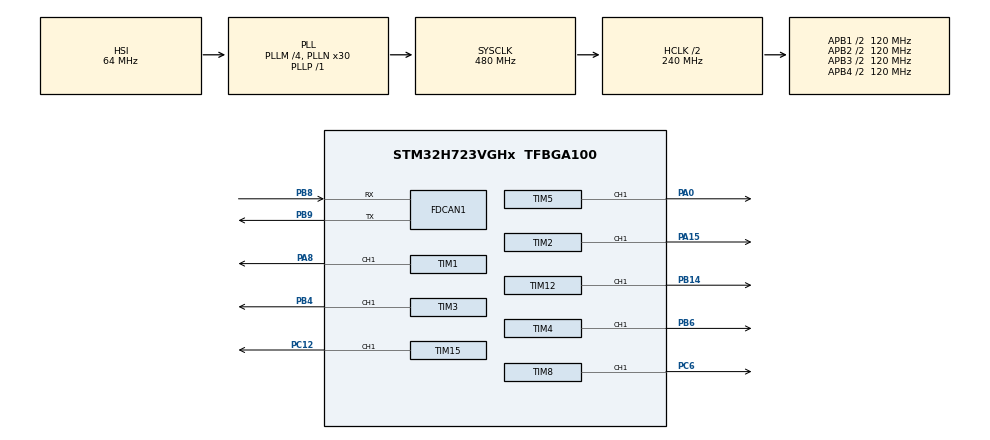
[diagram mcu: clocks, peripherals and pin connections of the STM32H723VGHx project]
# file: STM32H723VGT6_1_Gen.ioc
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CORTEX_M7.default_mode_Activation=1
FDCAN1.AutoRetransmission=ENABLE
FDCAN1.CalculateBaudRateNominal=500000
FDCAN1.CalculateTimeBitNominal=2000
FDCAN1.CalculateTimeQuantumNominal=100.0
FDCAN1.NominalPrescaler=12
FDCAN1.NominalSyncJumpWidth=4
FDCAN1.NominalTimeSeg1=15
FDCAN1.NominalTimeSeg2=4
FDCAN1.RxFifo0ElmtsNbr=32
FDCAN1.StdFiltersNbr=1
FDCAN1.TxEventsNbr=1
FDCAN1.TxFifoQueueElmtsNbr=1
Mcu.Family=STM32H7
Mcu.Name=STM32H723VGHx
Mcu.Package=TFBGA100
NVIC.PriorityGroup=NVIC_PRIORITYGROUP_4
PA0.Signal=S_TIM5_CH1
PA15(JTDI).Signal=S_TIM2_CH1_ETR
PA8.Signal=S_TIM1_CH1
PB14.Signal=S_TIM12_CH1
PB4(NJTRST).Signal=S_TIM3_CH1
PB6.Signal=S_TIM4_CH1
PB8.Mode=FDCAN_Activate
PB8.Signal=FDCAN1_RX
PB9.Mode=FDCAN_Activate
PB9.Signal=FDCAN1_TX
PC12.Signal=S_TIM15_CH1
PC6.Signal=S_TIM8_CH1
PH0-OSC_IN.Mode=HSE-External-Oscillator
PH0-OSC_IN.Signal=RCC_OSC_IN
PH1-OSC_OUT.Mode=HSE-External-Oscillator
PH1-OSC_OUT.Signal=RCC_OSC_OUT
ProjectManager.HeapSize=0x200
ProjectManager.StackSize=0x400
ProjectManager.TargetToolchain=STM32CubeIDE
RCC.ADCFreq_Value=129000000
RCC.APB1Freq_Value=120000000
RCC.APB2Freq_Value=120000000
RCC.APB3Freq_Value=120000000
RCC.APB4Freq_Value=120000000
RCC.CortexFreq_Value=480000000
RCC.D1PPRE=RCC_APB3_DIV2
RCC.D2PPRE1=RCC_APB1_DIV2
RCC.D2PPRE2=RCC_APB2_DIV2
RCC.D3PPRE=RCC_APB4_DIV2
RCC.DIVM1=4
RCC.DIVN1=30
RCC.DIVP1=1
RCC.DIVQ1=4
RCC.HCLKFreq_Value=240000000
RCC.HPRE=RCC_HCLK_DIV2
RCC.PLL2FRACN=0
RCC.PLL3FRACN=0
RCC.PLLFRACN=0
RCC.SYSCLKFreq_VALUE=480000000
RCC.SYSCLKSource=RCC_SYSCLKSOURCE_PLLCLK
RCC.USBFreq_Value=120000000
SH.S_TIM12_CH1.0=TIM12_CH1,PWM Generation1 CH1
SH.S_TIM15_CH1.0=TIM15_CH1,PWM Generation1 CH1
SH.S_TIM1_CH1.0=TIM1_CH1,PWM Generation1 CH1
SH.S_TIM2_CH1_ETR.0=TIM2_CH1,PWM Generation1 CH1
SH.S_TIM3_CH1.0=TIM3_CH1,PWM Generation1 CH1
SH.S_TIM4_CH1.0=TIM4_CH1,PWM Generation1 CH1
SH.S_TIM5_CH1.0=TIM5_CH1,PWM Generation1 CH1
SH.S_TIM8_CH1.0=TIM8_CH1,PWM Generation1 CH1
TIM1.Channel-PWM\ Generation1\ CH1=TIM_CHANNEL_1
TIM12.Channel-PWM\ Generation1\ CH1=TIM_CHANNEL_1
TIM15.Channel-PWM\ Generation1\ CH1=TIM_CHANNEL_1
TIM2.Channel-PWM\ Generation1\ CH1=TIM_CHANNEL_1
TIM3.Channel-PWM\ Generation1\ CH1=TIM_CHANNEL_1
TIM4.Channel-PWM\ Generation1\ CH1=TIM_CHANNEL_1
TIM5.Channel-PWM\ Generation1\ CH1=TIM_CHANNEL_1
TIM8.Channel-PWM\ Generation1\ CH1=TIM_CHANNEL_1
VP_MEMORYMAP_VS_MEMORYMAP.Mode=CurAppReg
VP_TIM12_VS_ClockSourceINT.Mode=Internal
VP_TIM12_VS_ClockSourceITR.Mode=TriggerSource_ITR0
VP_TIM12_VS_ControllerModeTrigger.Mode=Trigger Mode
VP_TIM15_VS_ClockSourceINT.Mode=Internal
VP_TIM15_VS_ClockSourceITR.Mode=TriggerSource_ITR0
VP_TIM15_VS_ControllerModeTrigger.Mode=Trigger Mode
VP_TIM1_VS_ClockSourceINT.Mode=Internal
VP_TIM2_VS_ClockSourceINT.Mode=Internal
VP_TIM2_VS_ClockSourceITR.Mode=TriggerSource_ITR0
VP_TIM2_VS_ControllerModeTrigger.Mode=Trigger Mode
VP_TIM3_VS_ClockSourceINT.Mode=Internal
VP_TIM3_VS_ClockSourceITR.Mode=TriggerSource_ITR0
VP_TIM3_VS_ControllerModeTrigger.Mode=Trigger Mode
VP_TIM4_VS_ClockSourceINT.Mode=Internal
VP_TIM4_VS_ClockSourceITR.Mode=TriggerSource_ITR0
VP_TIM4_VS_ControllerModeTrigger.Mode=Trigger Mode
VP_TIM5_VS_ClockSourceINT.Mode=Internal
VP_TIM5_VS_ClockSourceITR.Mode=TriggerSource_ITR0
VP_TIM5_VS_ControllerModeTrigger.Mode=Trigger Mode
VP_TIM8_VS_ClockSourceINT.Mode=Internal
VP_TIM8_VS_ClockSourceITR.Mode=TriggerSource_ITR0
VP_TIM8_VS_ControllerModeTrigger.Mode=Trigger Mode
board=custom

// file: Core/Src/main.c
/* USER CODE BEGIN Header */
/**
 ******************************************************************************
 * @file           : main.c
 * @brief          : PWM фазировка с аппаратной синхронизацией (TIM1 -> TRGO -> slaves)
 *                   Портировано с STM32H562RGT6 на STM32H723VGT6
 *
 * Ключевые отличия H723 vs H562:
 * - TIMER_CLK_HZ = 120 000 000 (SYSCLK=240MHz, HCLK=120MHz, APB=60MHz, TIM=2x60)
 * - TIM5 тоже 32-битный (Period=0xFFFFFFFF), get_timer_arr_max учитывает TIM2 и TIM5
 * - FDCAN без поля ClockDivider; FDCAN clock = PLL1Q = 120 MHz
 *   500 kbps: Prescaler=15, TimeSeg1=12, TimeSeg2=3, SJW=4 (1+12+3=16 TQ)
 * - BreakAFMode убрано (нет в H7 HAL)
 * - ICACHE через SCB_EnableICache()
 * - FDCAN GPIO: PB8(RX), PB9(TX) согласно ioc-файлу
 ******************************************************************************
 */
/* USER CODE END Header */
#include "main.h"

/* USER CODE BEGIN Includes */
#include <stdbool.h>
#include <stdint.h>
#include <math.h>
#include "fdcan_comm.h"
#include "pwm_modes.h"
/* USER CODE END Includes */

/* USER CODE BEGIN PD */

/**
 * @brief Частота тактирования таймеров STM32H723
 * @details SYSCLK=240MHz, AHB_DIV=2->HCLK=120MHz, APB_DIV=2->PCLK=60MHz,
 *          TIM_CLK = 2xPCLK = 120 MHz (TIMPRE=0, APB prescaler > 1)
 */
#ifndef TIMER_CLK_HZ
#define TIMER_CLK_HZ 120000000U
#endif

#define PWM_FREQ_MIN            17000U
#define PWM_FREQ_MAX            2000000U
#define PWM_BASE_STEP_HZ        1U
#define PWM_DEFAULT_DUTY        0.5f
#define PWM_STEP_MULTIPLIER     0.5f
#define PWM_MODE1_INTERVAL_MS   100U
#define PWM_MODE3_INTERVAL_MS   10U
#define PWM_MODE4_TICKS         10U

/** 0=LINEAR, 1=LOGARITHMIC, 2=STEP_LADDER, 3=JITTER */
#define PWM_STARTUP_MODE        0U

#define N_CH 8

#define MODE_SWITCH_INTERVAL_MS 30000U
/* USER CODE END PD */

FDCAN_HandleTypeDef hfdcan1;

TIM_HandleTypeDef htim1;
TIM_HandleTypeDef htim2;
TIM_HandleTypeDef htim3;
TIM_HandleTypeDef htim4;
TIM_HandleTypeDef htim5;
TIM_HandleTypeDef htim8;
TIM_HandleTypeDef htim12;
TIM_HandleTypeDef htim15;

/* USER CODE BEGIN PV */

/** @brief Массив указателей на таймеры (TIM1=master, остальные=slaves) */
TIM_HandleTypeDef *const timers[N_CH] = { &htim1, &htim2, &htim3, &htim4,
        &htim5, &htim8, &htim12, &htim15 };

/** @brief Каналы PWM (все TIM_CHANNEL_1) */
const uint32_t channels[N_CH] = {
    TIM_CHANNEL_1, TIM_CHANNEL_1, TIM_CHANNEL_1, TIM_CHANNEL_1,
    TIM_CHANNEL_1, TIM_CHANNEL_1, TIM_CHANNEL_1, TIM_CHANNEL_1
};

/** @brief Глобальная конфигурация PWM */
pwm_config_t global_pwm_cfg = {
    .freq_min          = PWM_FREQ_MIN,
    .freq_max          = PWM_FREQ_MAX,
    .step_hz           = PWM_BASE_STEP_HZ,
    .interval_ms       = PWM_MODE1_INTERVAL_MS,
    .duty              = PWM_DEFAULT_DUTY,
    .step_multiplier   = PWM_STEP_MULTIPLIER,
    .mode3_interval_ms = PWM_MODE3_INTERVAL_MS,
    .mode4_ticks       = PWM_MODE4_TICKS
};

typedef struct {
    pwm_mode_id_t current_mode;
    uint32_t last_mode_switch_tick;
    float current_freq_f;
    uint32_t current_freq;
    bool increasing;
    uint32_t last_step_tick;
    uint32_t mode4_tick_counter;
    uint32_t cycle_counter;
    uint32_t cycles_per_mode;
} pwm_manager_t;

static pwm_manager_t pwm_mgr;

typedef enum {
    PWM_STATE_NORMAL,
    PWM_STATE_PAUSED
} pwm_state_t;

/** НЕ static — нужен extern для fdcan_comm.c */
volatile pwm_state_t pwm_state = PWM_STATE_NORMAL;

/* USER CODE END PV */

void SystemClock_Config(void);
static void MPU_Config(void);
static void MX_GPIO_Init(void);
static void MX_TIM1_Init(void);
static void MX_TIM2_Init(void);
static void MX_TIM3_Init(void);
static void MX_TIM4_Init(void);
static void MX_TIM5_Init(void);
static void MX_TIM12_Init(void);
static void MX_TIM15_Init(void);
static void MX_TIM8_Init(void);
static void MX_FDCAN1_Init(void);

/* USER CODE BEGIN 0 */

/**
 * @brief Максимальное значение ARR: TIM2 и TIM5 — 32-бит, остальные — 16-бит
 */
static uint32_t get_timer_arr_max(TIM_HandleTypeDef *htim) {
    if (htim->Instance == TIM2 || htim->Instance == TIM5) {
        return 0xFFFFFFFFU;
    }
    return 0xFFFFU;
}

/**
 * @brief Целочисленное вычисление PSC и ARR для нужной частоты
 */
static void compute_psc_arr_fast(uint32_t freq_hz, uint32_t arr_max, uint32_t *psc, uint32_t *arr) {
    if (freq_hz == 0) { *psc = 0; *arr = arr_max; return; }
    uint64_t timer_clk = (uint64_t)TIMER_CLK_HZ;
    uint64_t period_ticks = timer_clk / freq_hz;
    if (period_ticks <= ((uint64_t)arr_max + 1)) {
        *psc = 0;
        *arr = (uint32_t)(period_ticks - 1);
    } else {
        uint64_t p_calc = (period_ticks + (uint64_t)arr_max) / ((uint64_t)arr_max + 1);
        if (p_calc == 0) p_calc = 1;
        *psc = (uint32_t)(p_calc - 1);
        *arr = (uint32_t)(period_ticks / p_calc) - 1;
    }
}

/* Состояния верификации */
typedef enum {
    VERIFY_STATE_IDLE,
    VERIFY_STATE_STABILIZING,
    VERIFY_STATE_SWEEPING,
    VERIFY_STATE_FINISHING
} v_state_t;

static struct {
    v_state_t state;
    uint32_t base_freq;
    uint32_t current_freq_v;
    float fine_freq_v;
    float current_step;
    int step_idx;
    int mode_idx;
    int sweep_dir;
    uint32_t last_step_tick_v;
} v_sm;

static const float v_steps[] = { 1.0f, 0.9f, 0.8f, 0.7f, 0.6f, 0.5f };
static void verify_process(void);

/* Программирование параметров без UG */
static void set_timer_params_no_ug(TIM_HandleTypeDef *htim, uint32_t channel,
        uint32_t freq_hz, float duty, uint32_t *out_psc, uint32_t *out_arr) {
    uint32_t arr_max = get_timer_arr_max(htim);
    uint32_t psc = 0, arr = 0;
    compute_psc_arr_fast(freq_hz, arr_max, &psc, &arr);
    if (arr == 0) arr = 1;
    HAL_TIM_PWM_Stop(htim, channel);
    if (htim->Instance == TIM2) {
        uint32_t smcr_backup = htim->Instance->SMCR;
        htim->Instance->SMCR = 0;
        __HAL_TIM_SET_PRESCALER(htim, psc);
        __HAL_TIM_SET_AUTORELOAD(htim, arr);
        htim->Instance->SMCR = smcr_backup;
        htim->Instance->EGR = TIM_EGR_UG;
    } else {
        __HAL_TIM_SET_PRESCALER(htim, psc);
        __HAL_TIM_SET_AUTORELOAD(htim, arr);
    }
    uint32_t ccr = (uint32_t)(((uint64_t)(arr + 1) * (uint32_t)(duty * 1000 + 0.5f)) / 1000);
    if (ccr > arr) ccr = arr;
    __HAL_TIM_SET_COMPARE(htim, channel, ccr);
    if (out_psc) *out_psc = psc;
    if (out_arr) *out_arr = arr;
}

/* Синхронный старт всех таймеров */
static void preload_and_start_all_hw_sync(float duty) {
    for (uint32_t i = 0; i < N_CH; ++i) {
        uint32_t arr = timers[i]->Instance->ARR;
        uint32_t phase_ticks = (uint32_t)roundf(((float)i * (float)(arr + 1) / (float)N_CH));
        uint32_t preload_cnt = ((arr + 1) + ((arr + 1) - phase_ticks)) % (arr + 1);
        __HAL_TIM_SET_COUNTER(timers[i], preload_cnt);
        if (i > 0) { __HAL_TIM_CLEAR_FLAG(timers[i], TIM_FLAG_UPDATE); }
    }
    for (uint32_t i = 1; i < N_CH; ++i) { HAL_TIM_PWM_Start(timers[i], channels[i]); }
    HAL_TIM_PWM_Start(timers[0], channels[0]);
    timers[0]->Instance->EGR = TIM_EGR_UG;
}

static uint32_t prev_psc_cache[N_CH];
static uint32_t prev_arr_cache[N_CH];

void pwm_manager_init(void) {
    pwm_mgr.current_mode = (pwm_mode_id_t)PWM_STARTUP_MODE;
    pwm_mgr.current_freq_f = (float)global_pwm_cfg.freq_min;
    pwm_mgr.current_freq = global_pwm_cfg.freq_min;
    pwm_mgr.increasing = true;
    pwm_mgr.last_mode_switch_tick = HAL_GetTick();
    pwm_mgr.last_step_tick = HAL_GetTick();
    pwm_mgr.cycle_counter = 0;
    pwm_mgr.cycles_per_mode = 1;
    for (uint32_t i = 0; i < N_CH; ++i) {
        set_timer_params_no_ug(timers[i], channels[i], pwm_mgr.current_freq,
                global_pwm_cfg.duty, &prev_psc_cache[i], &prev_arr_cache[i]);
    }
    preload_and_start_all_hw_sync(global_pwm_cfg.duty);
    FDCAN_SendModeStatus((uint8_t)pwm_mgr.current_mode);
}

void pwm_manager_process(void) {
    uint32_t now = HAL_GetTick();
    verify_process();
    if (v_sm.state != VERIFY_STATE_IDLE) return;
    if (pwm_state == PWM_STATE_PAUSED) return;

    uint32_t current_interval = global_pwm_cfg.interval_ms;
    bool is_tick_based = false;
    if (pwm_mgr.current_mode == PWM_MODE_STEP_LADDER) {
        current_interval = global_pwm_cfg.mode3_interval_ms;
    } else if (pwm_mgr.current_mode == PWM_MODE_JITTER) {
        is_tick_based = true;
    }

    bool trigger_update = false;
    if (is_tick_based) {
        pwm_mgr.mode4_tick_counter++;
        if (pwm_mgr.mode4_tick_counter >= global_pwm_cfg.mode4_ticks) {
            pwm_mgr.mode4_tick_counter = 0;
            trigger_update = true;
        }
    } else {
        if (now - pwm_mgr.last_step_tick >= current_interval) {
            pwm_mgr.last_step_tick = now;
            trigger_update = true;
        }
    }

    if (trigger_update) {
        bool prev_increasing = pwm_mgr.increasing;
        float next_freq_f = pwm_handlers[pwm_mgr.current_mode].update(pwm_mgr.current_freq_f, &pwm_mgr.increasing);

        if (!prev_increasing && pwm_mgr.increasing) {
            pwm_mgr.cycle_counter++;
            if (pwm_mgr.cycle_counter >= pwm_mgr.cycles_per_mode) {
                pwm_mgr.cycle_counter = 0;
                pwm_mgr.current_mode = (pwm_mode_id_t)((pwm_mgr.current_mode + 1) % PWM_MODE_COUNT);
                if (pwm_handlers[pwm_mgr.current_mode].init) pwm_handlers[pwm_mgr.current_mode].init();
                FDCAN_SendModeStatus((uint8_t)pwm_mgr.current_mode);
            }
        }

        pwm_mgr.current_freq_f = next_freq_f;
        pwm_mgr.current_freq = (uint32_t)next_freq_f;

        bool need_restart = false;
        uint32_t tmp_psc[N_CH], tmp_arr[N_CH];
        for (uint32_t i = 0; i < N_CH; i++) {
            compute_psc_arr_fast(pwm_mgr.current_freq, get_timer_arr_max(timers[i]), &tmp_psc[i], &tmp_arr[i]);
            if (tmp_psc[i] != prev_psc_cache[i] || tmp_arr[i] != prev_arr_cache[i]) need_restart = true;
        }

        if (need_restart) {
            for (uint32_t i = 0; i < N_CH; i++) {
                uint32_t psc = tmp_psc[i];
                uint32_t arr = tmp_arr[i];
                if (arr == 0U) arr = 1U;
                HAL_TIM_PWM_Stop(timers[i], channels[i]);
                if (timers[i]->Instance == TIM2) {
                    uint32_t smcr_bk = timers[i]->Instance->SMCR;
                    timers[i]->Instance->SMCR = 0;
                    __HAL_TIM_SET_PRESCALER(timers[i], psc);
                    __HAL_TIM_SET_AUTORELOAD(timers[i], arr);
                    timers[i]->Instance->SMCR = smcr_bk;
                    timers[i]->Instance->EGR  = TIM_EGR_UG;
                } else {
                    __HAL_TIM_SET_PRESCALER(timers[i], psc);
                    __HAL_TIM_SET_AUTORELOAD(timers[i], arr);
                }
                uint32_t ccr = (uint32_t)(((uint64_t)(arr + 1U) *
                                (uint32_t)(global_pwm_cfg.duty * 1000.0f + 0.5f)) / 1000U);
                if (ccr > arr) ccr = arr;
                __HAL_TIM_SET_COMPARE(timers[i], channels[i], ccr);
                prev_psc_cache[i] = psc;
                prev_arr_cache[i] = arr;
            }
            preload_and_start_all_hw_sync(global_pwm_cfg.duty);
        } else {
            for (uint32_t i = 0; i < N_CH; i++) {
                uint32_t arr = prev_arr_cache[i];
                uint32_t ccr = (uint32_t)(((uint64_t)(arr + 1) * (uint32_t)(global_pwm_cfg.duty * 1000 + 0.5f)) / 1000);
                __HAL_TIM_SET_COMPARE(timers[i], channels[i], (ccr > arr ? arr : ccr));
            }
        }
        FDCAN_SendFrequency(pwm_mgr.current_freq);
    }

    /* Периодически повторяем статус режима (каждые 2 сек) */
    {
        static uint32_t s_last_mode_bcast = 0U;
        if ((now - s_last_mode_bcast) >= 2000U) {
            s_last_mode_bcast = now;
            FDCAN_SendModeStatus((uint8_t)pwm_mgr.current_mode);
        }
    }
}

static void verify_process(void) {
    uint32_t now = HAL_GetTick();
    switch (v_sm.state) {
    case VERIFY_STATE_IDLE: {
        uint32_t req = FDCAN_GetVerifyRequest();
        if (req != 0) {
            v_sm.base_freq = req;
            v_sm.mode_idx = 0; v_sm.step_idx = 0;
            v_sm.current_step = v_steps[0];
            v_sm.fine_freq_v = (float)v_sm.base_freq - 100.0f;
            v_sm.sweep_dir = 1;
            v_sm.state = VERIFY_STATE_STABILIZING;
            FDCAN_SendVerifyStatus(VERIFY_START);
            if (pwm_handlers[v_sm.mode_idx].init) pwm_handlers[v_sm.mode_idx].init();
            FDCAN_SendModeStatus((uint8_t)v_sm.mode_idx);
        }
        break;
    }
    case VERIFY_STATE_STABILIZING:
        FDCAN_SendVerifyStatus(VERIFY_BUSY);
        v_sm.state = VERIFY_STATE_SWEEPING;
        v_sm.last_step_tick_v = now;
        break;
    case VERIFY_STATE_SWEEPING:
        if (now - v_sm.last_step_tick_v >= 50) {
            v_sm.last_step_tick_v = now;
            v_sm.fine_freq_v += (v_sm.current_step * (float)v_sm.sweep_dir);
            uint32_t target_hz = (uint32_t)v_sm.fine_freq_v;
            for (uint32_t i = 0; i < N_CH; ++i) {
                uint32_t psc, arr;
                compute_psc_arr_fast(target_hz, get_timer_arr_max(timers[i]), &psc, &arr);
                if (psc != prev_psc_cache[i] || arr != prev_arr_cache[i]) {
                    set_timer_params_no_ug(timers[i], channels[i], target_hz, global_pwm_cfg.duty, &prev_psc_cache[i], &prev_arr_cache[i]);
                    preload_and_start_all_hw_sync(global_pwm_cfg.duty);
                } else {
                    uint32_t arr_v = prev_arr_cache[i];
                    uint32_t ccr = (uint32_t)(((uint64_t)(arr_v + 1) * (uint32_t)(global_pwm_cfg.duty * 1000 + 0.5f)) / 1000);
                    __HAL_TIM_SET_COMPARE(timers[i], channels[i], (ccr > arr_v ? arr_v : ccr));
                }
            }
            FDCAN_SendFrequency(target_hz);
            if (v_sm.sweep_dir == 1 && v_sm.fine_freq_v >= (float)v_sm.base_freq + 100.0f) {
                v_sm.sweep_dir = -1;
            } else if (v_sm.sweep_dir == -1 && v_sm.fine_freq_v <= (float)v_sm.base_freq - 100.0f) {
                v_sm.sweep_dir = 1;
                v_sm.step_idx++;
                if (v_sm.step_idx >= 6) {
                    v_sm.step_idx = 0; v_sm.mode_idx++;
                    if (v_sm.mode_idx >= 4) {
                        v_sm.state = VERIFY_STATE_FINISHING;
                    } else {
                        if (pwm_handlers[v_sm.mode_idx].init) pwm_handlers[v_sm.mode_idx].init();
                        FDCAN_SendModeStatus((uint8_t)v_sm.mode_idx);
                    }
                }
                v_sm.current_step = v_steps[v_sm.step_idx];
            }
        }
        break;
    case VERIFY_STATE_FINISHING:
        FDCAN_SendVerifyStatus(VERIFY_DONE);
        v_sm.state = VERIFY_STATE_IDLE;
        pwm_manager_init();
        break;
    }
}

/* USER CODE END 0 */

int main(void)
{

  /* MPU Configuration--------------------------------------------------------*/
  MPU_Config();

  /* MCU Configuration--------------------------------------------------------*/

  /* Reset of all peripherals, Initializes the Flash interface and the Systick. */
  HAL_Init();

  /* Configure the system clock */
  SystemClock_Config();

  /* USER CODE BEGIN SysInit */
  /* Включаем Instruction Cache (L1) для STM32H7 */
  SCB_EnableICache();
  /* USER CODE END SysInit */

  /* Initialize all configured peripherals */
  MX_GPIO_Init();
  MX_TIM1_Init();
  MX_TIM2_Init();
  MX_TIM3_Init();
  MX_TIM4_Init();
  MX_TIM5_Init();
  MX_TIM12_Init();
  MX_TIM15_Init();
  MX_TIM8_Init();
  MX_FDCAN1_Init();
  /* USER CODE BEGIN 2 */

  /* Initialize FDCAN communication */
  FDCAN_Comm_Init();

  /* Инициализация Independent Watchdog */
  IWDG1->KR  = 0x5555;       /* Unlock IWDG1 */
  IWDG1->PR  = IWDG_PR_PR_2;  /* Prescaler = 64 */
  IWDG1->RLR = 0xFFF;         /* Reload = 4095 (~8 sec) */
  IWDG1->KR  = 0xCCCC;       /* Start IWDG1 */

  /* Инициализация менеджера режимов PWM */
  pwm_manager_init();

  /* USER CODE END 2 */

  /* Infinite loop */
  while (1)
  {

    /* USER CODE BEGIN 3 */
    /* Refresh Independent Watchdog */
    IWDG1->KR = 0xAAAA;

    /* Обработка команд из CAN ISR (PAUSE/RESUME/REBOOT) */
    FDCAN_ProcessPendingCommands();

    /* Мониторинг CAN ошибок (каждые 5 сек) */
    {
        static uint32_t last_can_diag_check = 0;
        uint32_t now_ms = HAL_GetTick();
        if ((now_ms - last_can_diag_check) >= 5000U) {
            last_can_diag_check = now_ms;
            fdcan_diag_t can_diag = FDCAN_GetDiagnostics();
            (void)can_diag;
        }
    }

    pwm_manager_process();
    __NOP();
  }
  /* USER CODE END 3 */
}

void SystemClock_Config(void)
{
  RCC_OscInitTypeDef RCC_OscInitStruct = {0};
  RCC_ClkInitTypeDef RCC_ClkInitStruct = {0};

  /** Supply configuration update enable
  */
  HAL_PWREx_ConfigSupply(PWR_LDO_SUPPLY);

  /** Configure the main internal regulator output voltage
  */
  __HAL_PWR_VOLTAGESCALING_CONFIG(PWR_REGULATOR_VOLTAGE_SCALE0);

  while(!__HAL_PWR_GET_FLAG(PWR_FLAG_VOSRDY)) {}

  /** Initializes the RCC Oscillators according to the specified parameters
  * in the RCC_OscInitTypeDef structure.
  */
  RCC_OscInitStruct.OscillatorType = RCC_OSCILLATORTYPE_HSI;
  RCC_OscInitStruct.HSIState = RCC_HSI_DIV1;
  RCC_OscInitStruct.HSICalibrationValue = 64;
  RCC_OscInitStruct.PLL.PLLState = RCC_PLL_ON;
  RCC_OscInitStruct.PLL.PLLSource = RCC_PLLSOURCE_HSI;
  RCC_OscInitStruct.PLL.PLLM = 4;
  RCC_OscInitStruct.PLL.PLLN = 30;
  RCC_OscInitStruct.PLL.PLLP = 1;
  RCC_OscInitStruct.PLL.PLLQ = 4;
  RCC_OscInitStruct.PLL.PLLR = 2;
  RCC_OscInitStruct.PLL.PLLRGE = RCC_PLL1VCIRANGE_3;
  RCC_OscInitStruct.PLL.PLLVCOSEL = RCC_PLL1VCOWIDE;
  RCC_OscInitStruct.PLL.PLLFRACN = 0;
  if (HAL_RCC_OscConfig(&RCC_OscInitStruct) != HAL_OK)
  {
    Error_Handler();
  }

  /** Initializes the CPU, AHB and APB buses clocks
  */
  RCC_ClkInitStruct.ClockType = RCC_CLOCKTYPE_HCLK|RCC_CLOCKTYPE_SYSCLK
                              |RCC_CLOCKTYPE_PCLK1|RCC_CLOCKTYPE_PCLK2
                              |RCC_CLOCKTYPE_D3PCLK1|RCC_CLOCKTYPE_D1PCLK1;
  RCC_ClkInitStruct.SYSCLKSource = RCC_SYSCLKSOURCE_PLLCLK;
  RCC_ClkInitStruct.SYSCLKDivider = RCC_SYSCLK_DIV1;
  RCC_ClkInitStruct.AHBCLKDivider = RCC_HCLK_DIV2;
  RCC_ClkInitStruct.APB3CLKDivider = RCC_APB3_DIV2;
  RCC_ClkInitStruct.APB1CLKDivider = RCC_APB1_DIV2;
  RCC_ClkInitStruct.APB2CLKDivider = RCC_APB2_DIV2;
  RCC_ClkInitStruct.APB4CLKDivider = RCC_APB4_DIV2;

  if (HAL_RCC_ClockConfig(&RCC_ClkInitStruct, FLASH_LATENCY_3) != HAL_OK)
  {
    Error_Handler();
  }
}

static void MX_FDCAN1_Init(void)
{

  hfdcan1.Instance = FDCAN1;
  hfdcan1.Init.FrameFormat = FDCAN_FRAME_CLASSIC;
  hfdcan1.Init.Mode = FDCAN_MODE_NORMAL;
  hfdcan1.Init.AutoRetransmission = ENABLE;
  hfdcan1.Init.TransmitPause = DISABLE;
  hfdcan1.Init.ProtocolException = DISABLE;
  hfdcan1.Init.NominalPrescaler = 12;
  hfdcan1.Init.NominalSyncJumpWidth = 4;
  hfdcan1.Init.NominalTimeSeg1 = 15;
  hfdcan1.Init.NominalTimeSeg2 = 4;
  hfdcan1.Init.DataPrescaler = 1;
  hfdcan1.Init.DataSyncJumpWidth = 1;
  hfdcan1.Init.DataTimeSeg1 = 1;
  hfdcan1.Init.DataTimeSeg2 = 1;
  hfdcan1.Init.MessageRAMOffset = 0;
  hfdcan1.Init.StdFiltersNbr = 1;
  hfdcan1.Init.ExtFiltersNbr = 0;
  hfdcan1.Init.RxFifo0ElmtsNbr = 32;
  hfdcan1.Init.RxFifo0ElmtSize = FDCAN_DATA_BYTES_8;
  hfdcan1.Init.RxFifo1ElmtsNbr = 0;
  hfdcan1.Init.RxFifo1ElmtSize = FDCAN_DATA_BYTES_8;
  hfdcan1.Init.RxBuffersNbr = 0;
  hfdcan1.Init.RxBufferSize = FDCAN_DATA_BYTES_8;
  hfdcan1.Init.TxEventsNbr = 1;
  hfdcan1.Init.TxBuffersNbr = 0;
  hfdcan1.Init.TxFifoQueueElmtsNbr = 1;
  hfdcan1.Init.TxFifoQueueMode = FDCAN_TX_FIFO_OPERATION;
  hfdcan1.Init.TxElmtSize = FDCAN_DATA_BYTES_8;
  if (HAL_FDCAN_Init(&hfdcan1) != HAL_OK)
  {
    Error_Handler();
  }

}

static void MX_TIM1_Init(void)
{

  TIM_ClockConfigTypeDef sClockSourceConfig = {0};
  TIM_MasterConfigTypeDef sMasterConfig = {0};
  TIM_OC_InitTypeDef sConfigOC = {0};
  TIM_BreakDeadTimeConfigTypeDef sBreakDeadTimeConfig = {0};

  htim1.Instance = TIM1;
  htim1.Init.Prescaler = 0;
  htim1.Init.CounterMode = TIM_COUNTERMODE_UP;
  htim1.Init.Period = 65535;
  htim1.Init.ClockDivision = TIM_CLOCKDIVISION_DIV1;
  htim1.Init.RepetitionCounter = 0;
  htim1.Init.AutoReloadPreload = TIM_AUTORELOAD_PRELOAD_DISABLE;
  if (HAL_TIM_Base_Init(&htim1) != HAL_OK)
  {
    Error_Handler();
  }
  sClockSourceConfig.ClockSource = TIM_CLOCKSOURCE_INTERNAL;
  if (HAL_TIM_ConfigClockSource(&htim1, &sClockSourceConfig) != HAL_OK)
  {
    Error_Handler();
  }
  if (HAL_TIM_PWM_Init(&htim1) != HAL_OK)
  {
    Error_Handler();
  }
  sMasterConfig.MasterOutputTrigger = TIM_TRGO_RESET;
  sMasterConfig.MasterOutputTrigger2 = TIM_TRGO2_RESET;
  sMasterConfig.MasterSlaveMode = TIM_MASTERSLAVEMODE_DISABLE;
  if (HAL_TIMEx_MasterConfigSynchronization(&htim1, &sMasterConfig) != HAL_OK)
  {
    Error_Handler();
  }
  sConfigOC.OCMode = TIM_OCMODE_PWM1;
  sConfigOC.Pulse = 0;
  sConfigOC.OCPolarity = TIM_OCPOLARITY_HIGH;
  sConfigOC.OCNPolarity = TIM_OCNPOLARITY_HIGH;
  sConfigOC.OCFastMode = TIM_OCFAST_DISABLE;
  sConfigOC.OCIdleState = TIM_OCIDLESTATE_RESET;
  sConfigOC.OCNIdleState = TIM_OCNIDLESTATE_RESET;
  if (HAL_TIM_PWM_ConfigChannel(&htim1, &sConfigOC, TIM_CHANNEL_1) != HAL_OK)
  {
    Error_Handler();
  }
  sBreakDeadTimeConfig.OffStateRunMode = TIM_OSSR_DISABLE;
  sBreakDeadTimeConfig.OffStateIDLEMode = TIM_OSSI_DISABLE;
  sBreakDeadTimeConfig.LockLevel = TIM_LOCKLEVEL_OFF;
  sBreakDeadTimeConfig.DeadTime = 0;
  sBreakDeadTimeConfig.BreakState = TIM_BREAK_DISABLE;
  sBreakDeadTimeConfig.BreakPolarity = TIM_BREAKPOLARITY_HIGH;
  sBreakDeadTimeConfig.BreakFilter = 0;
  sBreakDeadTimeConfig.Break2State = TIM_BREAK2_DISABLE;
  sBreakDeadTimeConfig.Break2Polarity = TIM_BREAK2POLARITY_HIGH;
  sBreakDeadTimeConfig.Break2Filter = 0;
  sBreakDeadTimeConfig.AutomaticOutput = TIM_AUTOMATICOUTPUT_DISABLE;
  if (HAL_TIMEx_ConfigBreakDeadTime(&htim1, &sBreakDeadTimeConfig) != HAL_OK)
  {
    Error_Handler();
  }
  HAL_TIM_MspPostInit(&htim1);

}

static void MX_TIM2_Init(void)
{

  TIM_ClockConfigTypeDef sClockSourceConfig = {0};
  TIM_SlaveConfigTypeDef sSlaveConfig = {0};
  TIM_MasterConfigTypeDef sMasterConfig = {0};
  TIM_OC_InitTypeDef sConfigOC = {0};

  htim2.Instance = TIM2;
  htim2.Init.Prescaler = 0;
  htim2.Init.CounterMode = TIM_COUNTERMODE_UP;
  htim2.Init.Period = 4294967295;
  htim2.Init.ClockDivision = TIM_CLOCKDIVISION_DIV1;
  htim2.Init.AutoReloadPreload = TIM_AUTORELOAD_PRELOAD_DISABLE;
  if (HAL_TIM_Base_Init(&htim2) != HAL_OK)
  {
    Error_Handler();
  }
  sClockSourceConfig.ClockSource = TIM_CLOCKSOURCE_INTERNAL;
  if (HAL_TIM_ConfigClockSource(&htim2, &sClockSourceConfig) != HAL_OK)
  {
    Error_Handler();
  }
  if (HAL_TIM_PWM_Init(&htim2) != HAL_OK)
  {
    Error_Handler();
  }
  sSlaveConfig.SlaveMode = TIM_SLAVEMODE_TRIGGER;
  sSlaveConfig.InputTrigger = TIM_TS_ITR0;
  if (HAL_TIM_SlaveConfigSynchro(&htim2, &sSlaveConfig) != HAL_OK)
  {
    Error_Handler();
  }
  sMasterConfig.MasterOutputTrigger = TIM_TRGO_RESET;
  sMasterConfig.MasterSlaveMode = TIM_MASTERSLAVEMODE_DISABLE;
  if (HAL_TIMEx_MasterConfigSynchronization(&htim2, &sMasterConfig) != HAL_OK)
  {
    Error_Handler();
  }
  sConfigOC.OCMode = TIM_OCMODE_PWM1;
  sConfigOC.Pulse = 0;
  sConfigOC.OCPolarity = TIM_OCPOLARITY_HIGH;
  sConfigOC.OCFastMode = TIM_OCFAST_DISABLE;
  if (HAL_TIM_PWM_ConfigChannel(&htim2, &sConfigOC, TIM_CHANNEL_1) != HAL_OK)
  {
    Error_Handler();
  }
  HAL_TIM_MspPostInit(&htim2);

}

static void MX_TIM3_Init(void)
{

  TIM_ClockConfigTypeDef sClockSourceConfig = {0};
  TIM_SlaveConfigTypeDef sSlaveConfig = {0};
  TIM_MasterConfigTypeDef sMasterConfig = {0};
  TIM_OC_InitTypeDef sConfigOC = {0};

  htim3.Instance = TIM3;
  htim3.Init.Prescaler = 0;
  htim3.Init.CounterMode = TIM_COUNTERMODE_UP;
  htim3.Init.Period = 65535;
  htim3.Init.ClockDivision = TIM_CLOCKDIVISION_DIV1;
  htim3.Init.AutoReloadPreload = TIM_AUTORELOAD_PRELOAD_DISABLE;
  if (HAL_TIM_Base_Init(&htim3) != HAL_OK)
  {
    Error_Handler();
  }
  sClockSourceConfig.ClockSource = TIM_CLOCKSOURCE_INTERNAL;
  if (HAL_TIM_ConfigClockSource(&htim3, &sClockSourceConfig) != HAL_OK)
  {
    Error_Handler();
  }
  if (HAL_TIM_PWM_Init(&htim3) != HAL_OK)
  {
    Error_Handler();
  }
  sSlaveConfig.SlaveMode = TIM_SLAVEMODE_TRIGGER;
  sSlaveConfig.InputTrigger = TIM_TS_ITR0;
  if (HAL_TIM_SlaveConfigSynchro(&htim3, &sSlaveConfig) != HAL_OK)
  {
    Error_Handler();
  }
  sMasterConfig.MasterOutputTrigger = TIM_TRGO_RESET;
  sMasterConfig.MasterSlaveMode = TIM_MASTERSLAVEMODE_DISABLE;
  if (HAL_TIMEx_MasterConfigSynchronization(&htim3, &sMasterConfig) != HAL_OK)
  {
    Error_Handler();
  }
  sConfigOC.OCMode = TIM_OCMODE_PWM1;
  sConfigOC.Pulse = 0;
  sConfigOC.OCPolarity = TIM_OCPOLARITY_HIGH;
  sConfigOC.OCFastMode = TIM_OCFAST_DISABLE;
  if (HAL_TIM_PWM_ConfigChannel(&htim3, &sConfigOC, TIM_CHANNEL_1) != HAL_OK)
  {
    Error_Handler();
  }
  HAL_TIM_MspPostInit(&htim3);

}

static void MX_TIM4_Init(void)
{

  TIM_ClockConfigTypeDef sClockSourceConfig = {0};
  TIM_SlaveConfigTypeDef sSlaveConfig = {0};
  TIM_MasterConfigTypeDef sMasterConfig = {0};
  TIM_OC_InitTypeDef sConfigOC = {0};

  htim4.Instance = TIM4;
  htim4.Init.Prescaler = 0;
  htim4.Init.CounterMode = TIM_COUNTERMODE_UP;
  htim4.Init.Period = 65535;
  htim4.Init.ClockDivision = TIM_CLOCKDIVISION_DIV1;
  htim4.Init.AutoReloadPreload = TIM_AUTORELOAD_PRELOAD_DISABLE;
  if (HAL_TIM_Base_Init(&htim4) != HAL_OK)
  {
    Error_Handler();
  }
  sClockSourceConfig.ClockSource = TIM_CLOCKSOURCE_INTERNAL;
  if (HAL_TIM_ConfigClockSource(&htim4, &sClockSourceConfig) != HAL_OK)
  {
    Error_Handler();
  }
  if (HAL_TIM_PWM_Init(&htim4) != HAL_OK)
  {
    Error_Handler();
  }
  sSlaveConfig.SlaveMode = TIM_SLAVEMODE_TRIGGER;
  sSlaveConfig.InputTrigger = TIM_TS_ITR0;
  if (HAL_TIM_SlaveConfigSynchro(&htim4, &sSlaveConfig) != HAL_OK)
  {
    Error_Handler();
  }
  sMasterConfig.MasterOutputTrigger = TIM_TRGO_RESET;
  sMasterConfig.MasterSlaveMode = TIM_MASTERSLAVEMODE_DISABLE;
  if (HAL_TIMEx_MasterConfigSynchronization(&htim4, &sMasterConfig) != HAL_OK)
  {
    Error_Handler();
  }
  sConfigOC.OCMode = TIM_OCMODE_PWM1;
  sConfigOC.Pulse = 0;
  sConfigOC.OCPolarity = TIM_OCPOLARITY_HIGH;
  sConfigOC.OCFastMode = TIM_OCFAST_DISABLE;
  if (HAL_TIM_PWM_ConfigChannel(&htim4, &sConfigOC, TIM_CHANNEL_1) != HAL_OK)
  {
    Error_Handler();
  }
  HAL_TIM_MspPostInit(&htim4);

}

static void MX_TIM5_Init(void)
{

  TIM_ClockConfigTypeDef sClockSourceConfig = {0};
  TIM_SlaveConfigTypeDef sSlaveConfig = {0};
  TIM_MasterConfigTypeDef sMasterConfig = {0};
  TIM_OC_InitTypeDef sConfigOC = {0};

  htim5.Instance = TIM5;
  htim5.Init.Prescaler = 0;
  htim5.Init.CounterMode = TIM_COUNTERMODE_UP;
  htim5.Init.Period = 4294967295;
  htim5.Init.ClockDivision = TIM_CLOCKDIVISION_DIV1;
  htim5.Init.AutoReloadPreload = TIM_AUTORELOAD_PRELOAD_DISABLE;
  if (HAL_TIM_Base_Init(&htim5) != HAL_OK)
  {
    Error_Handler();
  }
  sClockSourceConfig.ClockSource = TIM_CLOCKSOURCE_INTERNAL;
  if (HAL_TIM_ConfigClockSource(&htim5, &sClockSourceConfig) != HAL_OK)
  {
    Error_Handler();
  }
  if (HAL_TIM_PWM_Init(&htim5) != HAL_OK)
  {
    Error_Handler();
  }
  sSlaveConfig.SlaveMode = TIM_SLAVEMODE_TRIGGER;
  sSlaveConfig.InputTrigger = TIM_TS_ITR0;
  if (HAL_TIM_SlaveConfigSynchro(&htim5, &sSlaveConfig) != HAL_OK)
  {
    Error_Handler();
  }
  sMasterConfig.MasterOutputTrigger = TIM_TRGO_RESET;
  sMasterConfig.MasterSlaveMode = TIM_MASTERSLAVEMODE_DISABLE;
  if (HAL_TIMEx_MasterConfigSynchronization(&htim5, &sMasterConfig) != HAL_OK)
  {
    Error_Handler();
  }
  sConfigOC.OCMode = TIM_OCMODE_PWM1;
  sConfigOC.Pulse = 0;
  sConfigOC.OCPolarity = TIM_OCPOLARITY_HIGH;
  sConfigOC.OCFastMode = TIM_OCFAST_DISABLE;
  if (HAL_TIM_PWM_ConfigChannel(&htim5, &sConfigOC, TIM_CHANNEL_1) != HAL_OK)
  {
    Error_Handler();
  }
  HAL_TIM_MspPostInit(&htim5);

}

static void MX_TIM8_Init(void)
{

  TIM_ClockConfigTypeDef sClockSourceConfig = {0};
  TIM_SlaveConfigTypeDef sSlaveConfig = {0};
  TIM_MasterConfigTypeDef sMasterConfig = {0};
  TIM_OC_InitTypeDef sConfigOC = {0};
  TIM_BreakDeadTimeConfigTypeDef sBreakDeadTimeConfig = {0};

  htim8.Instance = TIM8;
  htim8.Init.Prescaler = 0;
  htim8.Init.CounterMode = TIM_COUNTERMODE_UP;
  htim8.Init.Period = 65535;
  htim8.Init.ClockDivision = TIM_CLOCKDIVISION_DIV1;
  htim8.Init.RepetitionCounter = 0;
  htim8.Init.AutoReloadPreload = TIM_AUTORELOAD_PRELOAD_DISABLE;
  if (HAL_TIM_Base_Init(&htim8) != HAL_OK)
  {
    Error_Handler();
  }
  sClockSourceConfig.ClockSource = TIM_CLOCKSOURCE_INTERNAL;
  if (HAL_TIM_ConfigClockSource(&htim8, &sClockSourceConfig) != HAL_OK)
  {
    Error_Handler();
  }
  if (HAL_TIM_PWM_Init(&htim8) != HAL_OK)
  {
    Error_Handler();
  }
  sSlaveConfig.SlaveMode = TIM_SLAVEMODE_TRIGGER;
  sSlaveConfig.InputTrigger = TIM_TS_ITR0;
  if (HAL_TIM_SlaveConfigSynchro(&htim8, &sSlaveConfig) != HAL_OK)
  {
    Error_Handler();
  }
  sMasterConfig.MasterOutputTrigger = TIM_TRGO_RESET;
  sMasterConfig.MasterOutputTrigger2 = TIM_TRGO2_RESET;
  sMasterConfig.MasterSlaveMode = TIM_MASTERSLAVEMODE_DISABLE;
  if (HAL_TIMEx_MasterConfigSynchronization(&htim8, &sMasterConfig) != HAL_OK)
  {
    Error_Handler();
  }
  sConfigOC.OCMode = TIM_OCMODE_PWM1;
  sConfigOC.Pulse = 0;
  sConfigOC.OCPolarity = TIM_OCPOLARITY_HIGH;
  sConfigOC.OCNPolarity = TIM_OCNPOLARITY_HIGH;
  sConfigOC.OCFastMode = TIM_OCFAST_DISABLE;
  sConfigOC.OCIdleState = TIM_OCIDLESTATE_RESET;
  sConfigOC.OCNIdleState = TIM_OCNIDLESTATE_RESET;
  if (HAL_TIM_PWM_ConfigChannel(&htim8, &sConfigOC, TIM_CHANNEL_1) != HAL_OK)
  {
    Error_Handler();
  }
  sBreakDeadTimeConfig.OffStateRunMode = TIM_OSSR_DISABLE;
  sBreakDeadTimeConfig.OffStateIDLEMode = TIM_OSSI_DISABLE;
  sBreakDeadTimeConfig.LockLevel = TIM_LOCKLEVEL_OFF;
  sBreakDeadTimeConfig.DeadTime = 0;
  sBreakDeadTimeConfig.BreakState = TIM_BREAK_DISABLE;
  sBreakDeadTimeConfig.BreakPolarity = TIM_BREAKPOLARITY_HIGH;
  sBreakDeadTimeConfig.BreakFilter = 0;
  sBreakDeadTimeConfig.Break2State = TIM_BREAK2_DISABLE;
  sBreakDeadTimeConfig.Break2Polarity = TIM_BREAK2POLARITY_HIGH;
  sBreakDeadTimeConfig.Break2Filter = 0;
  sBreakDeadTimeConfig.AutomaticOutput = TIM_AUTOMATICOUTPUT_DISABLE;
  if (HAL_TIMEx_ConfigBreakDeadTime(&htim8, &sBreakDeadTimeConfig) != HAL_OK)
  {
    Error_Handler();
  }
  HAL_TIM_MspPostInit(&htim8);

}

static void MX_TIM12_Init(void)
{

  TIM_ClockConfigTypeDef sClockSourceConfig = {0};
  TIM_SlaveConfigTypeDef sSlaveConfig = {0};
  TIM_MasterConfigTypeDef sMasterConfig = {0};
  TIM_OC_InitTypeDef sConfigOC = {0};

  htim12.Instance = TIM12;
  htim12.Init.Prescaler = 0;
  htim12.Init.CounterMode = TIM_COUNTERMODE_UP;
  htim12.Init.Period = 65535;
  htim12.Init.ClockDivision = TIM_CLOCKDIVISION_DIV1;
  htim12.Init.AutoReloadPreload = TIM_AUTORELOAD_PRELOAD_DISABLE;
  if (HAL_TIM_Base_Init(&htim12) != HAL_OK)
  {
    Error_Handler();
  }
  sClockSourceConfig.ClockSource = TIM_CLOCKSOURCE_INTERNAL;
  if (HAL_TIM_ConfigClockSource(&htim12, &sClockSourceConfig) != HAL_OK)
  {
    Error_Handler();
  }
  if (HAL_TIM_PWM_Init(&htim12) != HAL_OK)
  {
    Error_Handler();
  }
  sSlaveConfig.SlaveMode = TIM_SLAVEMODE_TRIGGER;
  sSlaveConfig.InputTrigger = TIM_TS_ITR0;
  if (HAL_TIM_SlaveConfigSynchro(&htim12, &sSlaveConfig) != HAL_OK)
  {
    Error_Handler();
  }
  sMasterConfig.MasterOutputTrigger = TIM_TRGO_RESET;
  sMasterConfig.MasterSlaveMode = TIM_MASTERSLAVEMODE_DISABLE;
  if (HAL_TIMEx_MasterConfigSynchronization(&htim12, &sMasterConfig) != HAL_OK)
  {
    Error_Handler();
  }
  sConfigOC.OCMode = TIM_OCMODE_PWM1;
  sConfigOC.Pulse = 0;
  sConfigOC.OCPolarity = TIM_OCPOLARITY_HIGH;
  sConfigOC.OCFastMode = TIM_OCFAST_DISABLE;
  if (HAL_TIM_PWM_ConfigChannel(&htim12, &sConfigOC, TIM_CHANNEL_1) != HAL_OK)
  {
    Error_Handler();
  }
  HAL_TIM_MspPostInit(&htim12);

}

static void MX_TIM15_Init(void)
{

  TIM_ClockConfigTypeDef sClockSourceConfig = {0};
  TIM_SlaveConfigTypeDef sSlaveConfig = {0};
  TIM_MasterConfigTypeDef sMasterConfig = {0};
  TIM_OC_InitTypeDef sConfigOC = {0};
  TIM_BreakDeadTimeConfigTypeDef sBreakDeadTimeConfig = {0};

  htim15.Instance = TIM15;
  htim15.Init.Prescaler = 0;
  htim15.Init.CounterMode = TIM_COUNTERMODE_UP;
  htim15.Init.Period = 65535;
  htim15.Init.ClockDivision = TIM_CLOCKDIVISION_DIV1;
  htim15.Init.RepetitionCounter = 0;
  htim15.Init.AutoReloadPreload = TIM_AUTORELOAD_PRELOAD_DISABLE;
  if (HAL_TIM_Base_Init(&htim15) != HAL_OK)
  {
    Error_Handler();
  }
  sClockSourceConfig.ClockSource = TIM_CLOCKSOURCE_INTERNAL;
  if (HAL_TIM_ConfigClockSource(&htim15, &sClockSourceConfig) != HAL_OK)
  {
    Error_Handler();
  }
  if (HAL_TIM_PWM_Init(&htim15) != HAL_OK)
  {
    Error_Handler();
  }
  sSlaveConfig.SlaveMode = TIM_SLAVEMODE_TRIGGER;
  sSlaveConfig.InputTrigger = TIM_TS_ITR0;
  if (HAL_TIM_SlaveConfigSynchro(&htim15, &sSlaveConfig) != HAL_OK)
  {
    Error_Handler();
  }
  sMasterConfig.MasterOutputTrigger = TIM_TRGO_RESET;
  sMasterConfig.MasterSlaveMode = TIM_MASTERSLAVEMODE_DISABLE;
  if (HAL_TIMEx_MasterConfigSynchronization(&htim15, &sMasterConfig) != HAL_OK)
  {
    Error_Handler();
  }
  sConfigOC.OCMode = TIM_OCMODE_PWM1;
  sConfigOC.Pulse = 0;
  sConfigOC.OCPolarity = TIM_OCPOLARITY_HIGH;
  sConfigOC.OCNPolarity = TIM_OCNPOLARITY_HIGH;
  sConfigOC.OCFastMode = TIM_OCFAST_DISABLE;
  sConfigOC.OCIdleState = TIM_OCIDLESTATE_RESET;
  sConfigOC.OCNIdleState = TIM_OCNIDLESTATE_RESET;
  if (HAL_TIM_PWM_ConfigChannel(&htim15, &sConfigOC, TIM_CHANNEL_1) != HAL_OK)
  {
    Error_Handler();
  }
  sBreakDeadTimeConfig.OffStateRunMode = TIM_OSSR_DISABLE;
  sBreakDeadTimeConfig.OffStateIDLEMode = TIM_OSSI_DISABLE;
  sBreakDeadTimeConfig.LockLevel = TIM_LOCKLEVEL_OFF;
  sBreakDeadTimeConfig.DeadTime = 0;
  sBreakDeadTimeConfig.BreakState = TIM_BREAK_DISABLE;
  sBreakDeadTimeConfig.BreakPolarity = TIM_BREAKPOLARITY_HIGH;
  sBreakDeadTimeConfig.BreakFilter = 0;
  sBreakDeadTimeConfig.AutomaticOutput = TIM_AUTOMATICOUTPUT_DISABLE;
  if (HAL_TIMEx_ConfigBreakDeadTime(&htim15, &sBreakDeadTimeConfig) != HAL_OK)
  {
    Error_Handler();
  }
  HAL_TIM_MspPostInit(&htim15);

}

static void MX_GPIO_Init(void)
{
  /* USER CODE BEGIN MX_GPIO_Init_1 */
  GPIO_InitTypeDef GPIO_InitStruct = { 0 };
  /* USER CODE END MX_GPIO_Init_1 */

  /* GPIO Ports Clock Enable */
  __HAL_RCC_GPIOB_CLK_ENABLE();
  __HAL_RCC_GPIOA_CLK_ENABLE();
  __HAL_RCC_GPIOH_CLK_ENABLE();
  __HAL_RCC_GPIOC_CLK_ENABLE();

  /* USER CODE BEGIN MX_GPIO_Init_2 */
  /* LED диагностики */
  HAL_GPIO_WritePin(LED_GPIO_Port, LED_Pin, GPIO_PIN_RESET);
  GPIO_InitStruct.Pin = LED_Pin;
  GPIO_InitStruct.Mode = GPIO_MODE_OUTPUT_PP;
  GPIO_InitStruct.Pull = GPIO_NOPULL;
  GPIO_InitStruct.Speed = GPIO_SPEED_FREQ_LOW;
  HAL_GPIO_Init(LED_GPIO_Port, &GPIO_InitStruct);
  /* USER CODE END MX_GPIO_Init_2 */
}

 /* MPU Configuration */

void MPU_Config(void)
{
  MPU_Region_InitTypeDef MPU_InitStruct = {0};

  /* Disables the MPU */
  HAL_MPU_Disable();

  /** Initializes and configures the Region and the memory to be protected
  */
  MPU_InitStruct.Enable = MPU_REGION_ENABLE;
  MPU_InitStruct.Number = MPU_REGION_NUMBER0;
  MPU_InitStruct.BaseAddress = 0x0;
  MPU_InitStruct.Size = MPU_REGION_SIZE_4GB;
  MPU_InitStruct.SubRegionDisable = 0x87;
  MPU_InitStruct.TypeExtField = MPU_TEX_LEVEL0;
  MPU_InitStruct.AccessPermission = MPU_REGION_NO_ACCESS;
  MPU_InitStruct.DisableExec = MPU_INSTRUCTION_ACCESS_DISABLE;
  MPU_InitStruct.IsShareable = MPU_ACCESS_SHAREABLE;
  MPU_InitStruct.IsCacheable = MPU_ACCESS_NOT_CACHEABLE;
  MPU_InitStruct.IsBufferable = MPU_ACCESS_NOT_BUFFERABLE;

  HAL_MPU_ConfigRegion(&MPU_InitStruct);
  /* Enables the MPU */
  HAL_MPU_Enable(MPU_PRIVILEGED_DEFAULT);

}

void Error_Handler(void)
{
  /* USER CODE BEGIN Error_Handler_Debug */
  /* Не кормим IWDG -> через ~8 сек аппаратный сброс */
  while (1) {
    __NOP();
  }
  /* USER CODE END Error_Handler_Debug */
}
